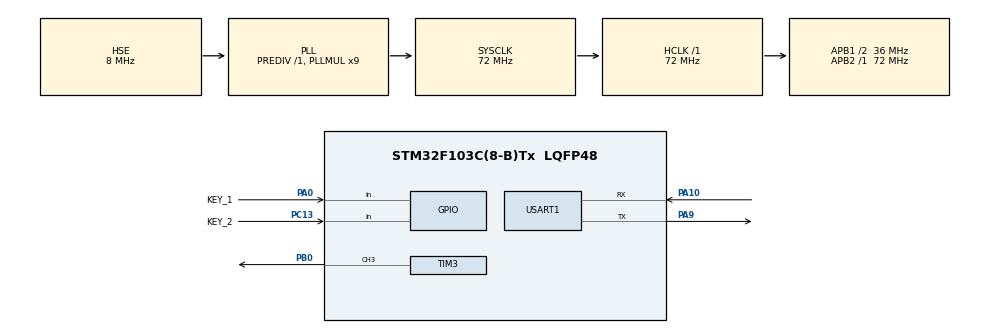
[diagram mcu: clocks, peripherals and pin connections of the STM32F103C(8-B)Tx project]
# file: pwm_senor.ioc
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Mcu.Family=STM32F1
Mcu.Name=STM32F103C(8-B)Tx
Mcu.Package=LQFP48
NVIC.PriorityGroup=NVIC_PRIORITYGROUP_4
NVIC.TIM3_IRQn=true\:0\:0\:false\:false\:true\:true\:true\:true
NVIC.USART1_IRQn=true\:0\:0\:false\:false\:true\:true\:true\:true
PA0-WKUP.GPIO_Label=KEY_1
PA0-WKUP.GPIO_Mode=GPIO_MODE_INPUT
PA0-WKUP.GPIO_PuPd=GPIO_PULLDOWN
PA0-WKUP.Signal=GPIO_Input
PA10.Mode=Asynchronous
PA10.Signal=USART1_RX
PA13.Mode=Serial_Wire
PA13.Signal=SYS_JTMS-SWDIO
PA14.Mode=Serial_Wire
PA14.Signal=SYS_JTCK-SWCLK
PA9.Mode=Asynchronous
PA9.Signal=USART1_TX
PB0.Signal=S_TIM3_CH3
PC13-TAMPER-RTC.GPIO_Label=KEY_2
PC13-TAMPER-RTC.GPIO_PuPd=GPIO_PULLDOWN
PC13-TAMPER-RTC.Signal=GPIO_Input
PC14-OSC32_IN.Mode=LSE-External-Oscillator
PC14-OSC32_IN.Signal=RCC_OSC32_IN
PC15-OSC32_OUT.Mode=LSE-External-Oscillator
PC15-OSC32_OUT.Signal=RCC_OSC32_OUT
PD0-OSC_IN.Mode=HSE-External-Oscillator
PD0-OSC_IN.Signal=RCC_OSC_IN
PD1-OSC_OUT.Mode=HSE-External-Oscillator
PD1-OSC_OUT.Signal=RCC_OSC_OUT
ProjectManager.HeapSize=0x200
ProjectManager.StackSize=0x400
ProjectManager.TargetToolchain=MDK-ARM V5.32
RCC.AHBFreq_Value=72000000
RCC.APB1CLKDivider=RCC_HCLK_DIV2
RCC.APB1Freq_Value=36000000
RCC.APB1TimFreq_Value=72000000
RCC.APB2Freq_Value=72000000
RCC.APB2TimFreq_Value=72000000
RCC.HCLKFreq_Value=72000000
RCC.PLLMUL=RCC_PLL_MUL9
RCC.PLLSourceVirtual=RCC_PLLSOURCE_HSE
RCC.SYSCLKFreq_VALUE=72000000
RCC.SYSCLKSource=RCC_SYSCLKSOURCE_PLLCLK
RCC.USBFreq_Value=72000000
SH.S_TIM3_CH3.0=TIM3_CH3,PWM Generation3 CH3
TIM3.Channel-PWM\ Generation3\ CH3=TIM_CHANNEL_3
TIM3.Period=20000-1
TIM3.Prescaler=72-1
USART1.VirtualMode=VM_ASYNC
board=custom

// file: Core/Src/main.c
/* USER CODE BEGIN Header */
/**
  ******************************************************************************
  * @file           : main.c
  * @brief          : Main program body
  ******************************************************************************
  * @attention
  *
  * Copyright (c) 2025 STMicroelectronics.
  * All rights reserved.
  *
  * This software is licensed under terms that can be found in the LICENSE file
  * in the root directory of this software component.
  * If no LICENSE file comes with this software, it is provided AS-IS.
  *
  ******************************************************************************
  */
/* USER CODE END Header */
#include "main.h"
#include "tim.h"
#include "usart.h"
#include "gpio.h"

/* USER CODE BEGIN Includes */
#include <stdio.h>
/* USER CODE END Includes */

/* USER CODE BEGIN PD */
#define SG90_MIN 500
#define SG90_MAX 2500
#define SG90_STEP 500
#define ANGLE_STEP 45
/* USER CODE END PD */

/* USER CODE BEGIN PV */
uint16_t sg90_angle = 500;
int16_t angle = -90;
/* USER CODE END PV */

void SystemClock_Config(void);

int main(void)
{

  /* MCU Configuration--------------------------------------------------------*/

  /* Reset of all peripherals, Initializes the Flash interface and the Systick. */
  HAL_Init();

  /* Configure the system clock */
  SystemClock_Config();

  /* Initialize all configured peripherals */
  MX_GPIO_Init();
  MX_TIM3_Init();
  MX_USART1_UART_Init();
  /* USER CODE BEGIN 2 */
	HAL_TIM_PWM_Start(&htim3,TIM_CHANNEL_3);
	__HAL_TIM_SET_COMPARE(&htim3,TIM_CHANNEL_3,sg90_angle);
	printf("*****舵机初始化成功!*****\n");
	printf("当前舵机角度:%d°\n",angle);
  /* USER CODE END 2 */

  /* Infinite loop */
  /* USER CODE BEGIN WHILE */
  while (1)
  {
		if(HAL_GPIO_ReadPin(GPIOA,KEY_1_Pin) == GPIO_PIN_SET)
		{
			if(sg90_angle < SG90_MAX)
			{
			sg90_angle += SG90_STEP;
			angle += ANGLE_STEP;
			}
			__HAL_TIM_SET_COMPARE(&htim3,TIM_CHANNEL_3,sg90_angle);
			HAL_Delay(300);
			printf("当前舵机角度:%d°\n",angle);
			while(HAL_GPIO_ReadPin(GPIOA,KEY_1_Pin) == GPIO_PIN_SET);
		}
		if(HAL_GPIO_ReadPin(GPIOC,KEY_2_Pin) == GPIO_PIN_SET)
		{
			if(sg90_angle > SG90_MIN)
			{
			sg90_angle -= SG90_STEP;
			angle -= ANGLE_STEP;
			}
			__HAL_TIM_SET_COMPARE(&htim3,TIM_CHANNEL_3,sg90_angle);
			HAL_Delay(300);
			printf("当前舵机角度:%d°\n",angle);
			while(HAL_GPIO_ReadPin(GPIOC,KEY_2_Pin) == GPIO_PIN_SET);

		}
    /* USER CODE END WHILE */

  }
}

void SystemClock_Config(void)
{
  RCC_OscInitTypeDef RCC_OscInitStruct = {0};
  RCC_ClkInitTypeDef RCC_ClkInitStruct = {0};

  /** Initializes the RCC Oscillators according to the specified parameters
  * in the RCC_OscInitTypeDef structure.
  */
  RCC_OscInitStruct.OscillatorType = RCC_OSCILLATORTYPE_HSE;
  RCC_OscInitStruct.HSEState = RCC_HSE_ON;
  RCC_OscInitStruct.HSEPredivValue = RCC_HSE_PREDIV_DIV1;
  RCC_OscInitStruct.HSIState = RCC_HSI_ON;
  RCC_OscInitStruct.PLL.PLLState = RCC_PLL_ON;
  RCC_OscInitStruct.PLL.PLLSource = RCC_PLLSOURCE_HSE;
  RCC_OscInitStruct.PLL.PLLMUL = RCC_PLL_MUL9;
  if (HAL_RCC_OscConfig(&RCC_OscInitStruct) != HAL_OK)
  {
    Error_Handler();
  }

  /** Initializes the CPU, AHB and APB buses clocks
  */
  RCC_ClkInitStruct.ClockType = RCC_CLOCKTYPE_HCLK|RCC_CLOCKTYPE_SYSCLK
                              |RCC_CLOCKTYPE_PCLK1|RCC_CLOCKTYPE_PCLK2;
  RCC_ClkInitStruct.SYSCLKSource = RCC_SYSCLKSOURCE_PLLCLK;
  RCC_ClkInitStruct.AHBCLKDivider = RCC_SYSCLK_DIV1;
  RCC_ClkInitStruct.APB1CLKDivider = RCC_HCLK_DIV2;
  RCC_ClkInitStruct.APB2CLKDivider = RCC_HCLK_DIV1;

  if (HAL_RCC_ClockConfig(&RCC_ClkInitStruct, FLASH_LATENCY_2) != HAL_OK)
  {
    Error_Handler();
  }
}

/* USER CODE BEGIN 4 */
int fputc(int ch, FILE *f){
		HAL_UART_Transmit(&huart1, (uint8_t *)&ch, 1, HAL_MAX_DELAY);
		return ch;
}
/* USER CODE END 4 */

void Error_Handler(void)
{
  __disable_irq();
  while (1)
  {
  }
}
